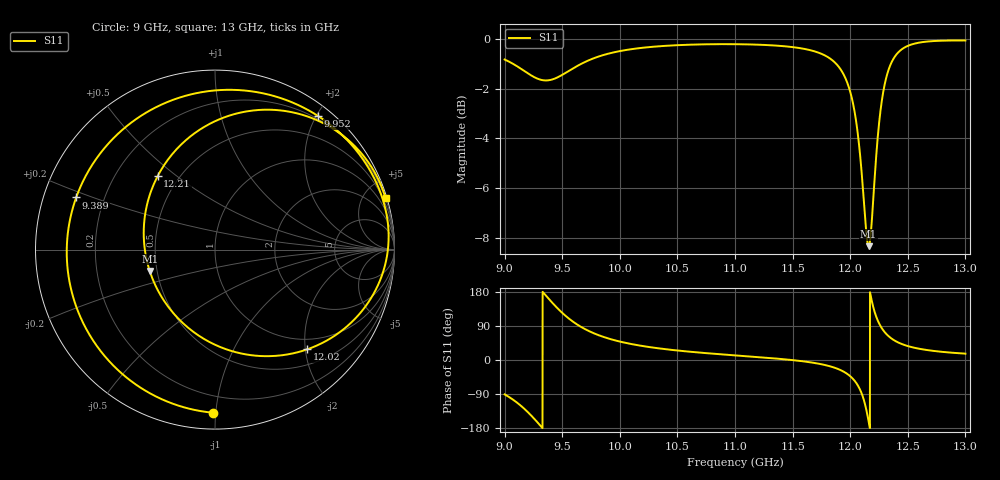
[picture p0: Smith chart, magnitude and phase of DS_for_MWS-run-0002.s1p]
! TOUCHSTONE file generated by CST DESIGN STUDIO
! Date and time: Tue Feb  4 16:13:11 2025
! Project name: C:\Work\MatlabApps\UnitCellOptimizationMatlab\CST\unitcell.cst
! Tree item: Tasks\Sweep1\SPara1\S-Parameters
! Header version: 2024
! Port assignment regex: !\s*Touchstone port\s*([0-9]+)\s*=\s*(CST MWS port|CST DES external port|CST DES block port)\s*(.+)\s* \(\"(.*)\"\)(\s*mode\s*([0-9]+))?.*
! Touchstone port assignment:
! Touchstone port 1 = CST DES external port 1 ("")
# GHz S MA R 50
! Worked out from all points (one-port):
!   4001 points, 9 GHz to 13 GHz, reference 50 ohm
!   lowest |S11| = -8.3 dB at 12.16 GHz (marker M1), VSWR 2.24, Z = 22.8 - j6.34 ohm
!   |S11| at or under -10 dB: nowhere
!   S11 on the Smith chart (normalised r, x): 9 GHz: 0.09, -0.98; 9.389 GHz: 0.10, +0.18; 9.952 GHz: 0.16, +2.02; 12.02 GHz: 0.78, -2.04; 12.21 GHz: 0.38, +0.43; 13 GHz: 0.17, +6.78
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9  0.9089 -90.7
9.097  0.8843 -110.0
9.182  0.8586 -131.8
9.292  0.8306 -166.8
9.389  0.8261 159.4
9.5  0.8465 124.5
9.577  0.8676 104.8
9.665  0.8908 87.1
9.8  0.9189 67.4
9.952  0.9401 52.4
10  0.9451 48.7
10.5  0.9713 25.1
11  0.9758 12.2
11.5  0.9627 -0.3
11.835  0.9096 -17.5
11.929  0.8594 -28.5
12  0.7828 -42.7
12.016  0.7569 -47.2
12.097  0.5466 -86.3
12.128  0.4407 -115.9
12.16  0.3827 -161.9
12.211  0.5194 128.0
12.252  0.6812 95.9
12.298  0.8072 74.0
12.384  0.9187 51.6
12.5  0.9683 36.8
12.686  0.9887 25.4
13  0.9928 16.8
